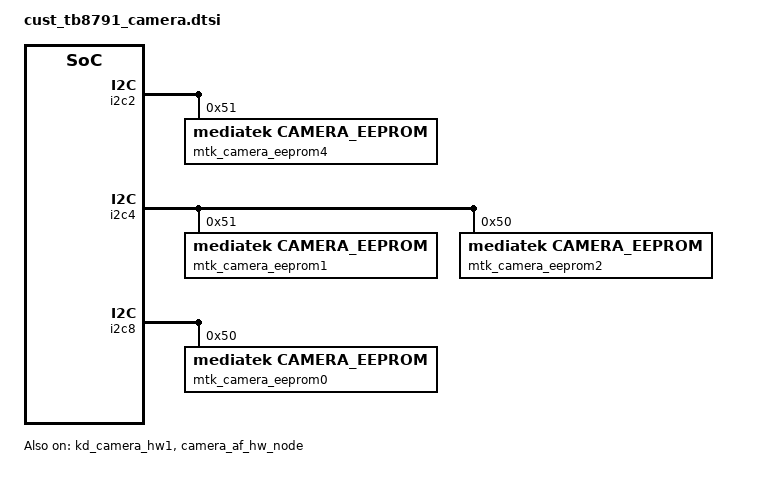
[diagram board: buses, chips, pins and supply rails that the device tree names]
// SPDX-License-Identifier: GPL-2.0
/*
 * Copyright (c) 2021 MediaTek Inc.
 */

/* CAMERA GPIO standardization */
&pio {
	camera_pins_cam0_rst_0: cam0@0 {
		pins_cmd_dat {
			pinmux = <PINMUX_GPIO161__FUNC_GPIO161>;
			slew-rate = <1>;
			output-low;
		};
	};
	camera_pins_cam0_rst_1: cam0@1 {
		pins_cmd_dat {
			pinmux = <PINMUX_GPIO161__FUNC_GPIO161>;
			slew-rate = <1>;
			output-high;
		};
	};

	camera_pins_cam1_rst_0: cam1@0 {
		pins_cmd_dat {
			pinmux = <PINMUX_GPIO155__FUNC_GPIO155>;
			slew-rate = <1>;
			output-low;
		};
	};
	camera_pins_cam1_rst_1: cam1@1 {
		pins_cmd_dat {
			pinmux = <PINMUX_GPIO155__FUNC_GPIO155>;
			slew-rate = <1>;
			output-high;
		};
	};

	camera_pins_cam0_vcamd_0: cam0@vcam0 {
		pins_cmd_dat {
			pinmux = <PINMUX_GPIO157__FUNC_GPIO157>;
			slew-rate = <1>;
			output-low;
		};
	};
	camera_pins_cam0_vcamd_1: cam0@vcam1 {
		pins_cmd_dat {
			pinmux = <PINMUX_GPIO157__FUNC_GPIO157>;
			slew-rate = <1>;
			output-high;
		};
	};
	camera_pins_cam0_vcama_0: cam0@vcam2 {
		pins_cmd_dat {
			pinmux = <PINMUX_GPIO34__FUNC_GPIO34>;
			slew-rate = <1>;
			output-low;
		};
	};
	camera_pins_cam0_vcama_1: cam0@vcam3 {
		pins_cmd_dat {
			pinmux = <PINMUX_GPIO34__FUNC_GPIO34>;
			slew-rate = <1>;
			output-high;
		};
	};

	camera_pins_cam1_vcamd_0: cam1@vcam0 {
		pins_cmd_dat {
			pinmux = <PINMUX_GPIO153__FUNC_GPIO153>;
			slew-rate = <1>;
			output-low;
		};
	};
	camera_pins_cam1_vcamd_1: cam1@vcam1 {
		pins_cmd_dat {
			pinmux = <PINMUX_GPIO153__FUNC_GPIO153>;
			slew-rate = <1>;
			output-high;
		};
	};
	camera_pins_cam1_vcama_0: cam1@vcam2 {
		pins_cmd_dat {
			pinmux = <PINMUX_GPIO151__FUNC_GPIO151>;
			slew-rate = <1>;
			output-low;
		};
	};
	camera_pins_cam1_vcama_1: cam1@vcam3 {
		pins_cmd_dat {
			pinmux = <PINMUX_GPIO151__FUNC_GPIO151>;
			slew-rate = <1>;
			output-high;
		};
	};
	camera_pins_cam0_mclk_off: camera_pins_cam0_mclk_off {
		pins_cmd_dat {
			pinmux = <PINMUX_GPIO152__FUNC_GPIO152>;
			drive-strength = <1>;
		};
	};
	camera_pins_cam0_mclk_2ma: camera_pins_cam0_mclk_2ma {
		pins_cmd_dat {
			pinmux = <PINMUX_GPIO152__FUNC_CMMCLK3>;
			drive-strength = <0>;
		};
	};
	camera_pins_cam0_mclk_4ma: camera_pins_cam0_mclk_4ma {
		pins_cmd_dat {
			pinmux = <PINMUX_GPIO152__FUNC_CMMCLK3>;
			drive-strength = <1>;
		};
	};
	camera_pins_cam0_mclk_6ma: camera_pins_cam0_mclk_6ma {
		pins_cmd_dat {
			pinmux = <PINMUX_GPIO152__FUNC_CMMCLK3>;
			drive-strength = <2>;
		};
	};
	camera_pins_cam0_mclk_8ma: camera_pins_cam0_mclk_8ma {
		pins_cmd_dat {
			pinmux = <PINMUX_GPIO152__FUNC_CMMCLK3>;
			drive-strength = <3>;
		};
	};
	camera_pins_cam1_mclk_off: camera_pins_cam1_mclk_off {
		pins_cmd_dat {
			pinmux = <PINMUX_GPIO149__FUNC_GPIO149>;
			drive-strength = <1>;
		};
	};
	camera_pins_cam1_mclk_2ma: camera_pins_cam1_mclk_2ma {
		pins_cmd_dat {
			pinmux = <PINMUX_GPIO149__FUNC_CMMCLK0>;
			drive-strength = <0>;
		};
	};
	camera_pins_cam1_mclk_4ma: camera_pins_cam1_mclk_4ma {
		pins_cmd_dat {
			pinmux = <PINMUX_GPIO149__FUNC_CMMCLK0>;
			drive-strength = <1>;
		};
	};
	camera_pins_cam1_mclk_6ma: camera_pins_cam1_mclk_6ma {
		pins_cmd_dat {
			pinmux = <PINMUX_GPIO149__FUNC_CMMCLK0>;
			drive-strength = <2>;
		};
	};
	camera_pins_cam1_mclk_8ma: camera_pins_cam1_mclk_8ma {
		pins_cmd_dat {
			pinmux = <PINMUX_GPIO149__FUNC_CMMCLK0>;
			drive-strength = <3>;
		};
	};
	camera_pins_default: camdefault {
	};
};
&kd_camera_hw1 {
	pinctrl-names = "default",
			"cam0_rst0", "cam0_rst1",
			"cam1_rst0", "cam1_rst1",
			"cam0_ldo_vcamd_0", "cam0_ldo_vcamd_1",
			"cam0_ldo_vcama_0", "cam0_ldo_vcama_1",
			"cam1_ldo_vcamd_0", "cam1_ldo_vcamd_1",
			"cam1_ldo_vcama_0", "cam1_ldo_vcama_1",
			"cam0_mclk_off",
			"cam0_mclk_2mA", "cam0_mclk_4mA",
			"cam0_mclk_6mA", "cam0_mclk_8mA",
			"cam1_mclk_off",
			"cam1_mclk_2mA", "cam1_mclk_4mA",
			"cam1_mclk_6mA", "cam1_mclk_8mA";
	pinctrl-0 = <&camera_pins_default>;
	pinctrl-1 = <&camera_pins_cam0_rst_0>;
	pinctrl-2 = <&camera_pins_cam0_rst_1>;
	pinctrl-3 = <&camera_pins_cam1_rst_0>;
	pinctrl-4 = <&camera_pins_cam1_rst_1>;
	pinctrl-5 = <&camera_pins_cam0_vcamd_0>;
	pinctrl-6 = <&camera_pins_cam0_vcamd_1>;
	pinctrl-7 = <&camera_pins_cam0_vcama_0>;
	pinctrl-8 = <&camera_pins_cam0_vcama_1>;
	pinctrl-9 = <&camera_pins_cam1_vcamd_0>;
	pinctrl-10 = <&camera_pins_cam1_vcamd_1>;
	pinctrl-11 = <&camera_pins_cam1_vcama_0>;
	pinctrl-12 = <&camera_pins_cam1_vcama_1>;
	pinctrl-13 = <&camera_pins_cam0_mclk_off>;
	pinctrl-14 = <&camera_pins_cam0_mclk_2ma>;
	pinctrl-15 = <&camera_pins_cam0_mclk_4ma>;
	pinctrl-16 = <&camera_pins_cam0_mclk_6ma>;
	pinctrl-17 = <&camera_pins_cam0_mclk_8ma>;
	pinctrl-18 = <&camera_pins_cam1_mclk_off>;
	pinctrl-19 = <&camera_pins_cam1_mclk_2ma>;
	pinctrl-20 = <&camera_pins_cam1_mclk_4ma>;
	pinctrl-21 = <&camera_pins_cam1_mclk_6ma>;
	pinctrl-22 = <&camera_pins_cam1_mclk_8ma>;

	/* main */
	cam0_vcamio-supply = <&mt_pmic_vcamio_ldo_reg>;

	/* front */
	cam1_vcamio-supply = <&mt_pmic_vcamio_ldo_reg>;
	cam0_enable_sensor = "gc08a3rear_mipi_raw";
	cam1_enable_sensor = "hi1339ofilm_mipi_raw";

	status = "okay";
};
/* CAMERA GPIO end */

/* CAMERA EEPROM */
&i2c2 {
	mtk_camera_eeprom4:camera_eeprom4@51 {
		compatible = "mediatek,camera_eeprom";
		reg = <0x51>;
		status = "okay";
	};
};
&i2c4 {
	mtk_camera_eeprom1:camera_eeprom1@51 {
		compatible = "mediatek,camera_eeprom";
		reg = <0x51>;
		status = "okay";
	};
	mtk_camera_eeprom2:camera_eeprom2@50 {
		compatible = "mediatek,camera_eeprom";
		reg = <0x50>;
		status = "okay";
	};
};
&i2c8 {
	mtk_camera_eeprom0:camera_eeprom0@50 {
		compatible = "mediatek,camera_eeprom";
		reg = <0x50>;
		status = "okay";
	};
};
/* CAMERA EEPROM end */
/* CAMERA AF */
&camera_af_hw_node {
	camaf_m1_pmic-supply = <&mt_pmic_vibr_ldo_reg>;
	status = "okay";
};
/* CAMERA AF end */
